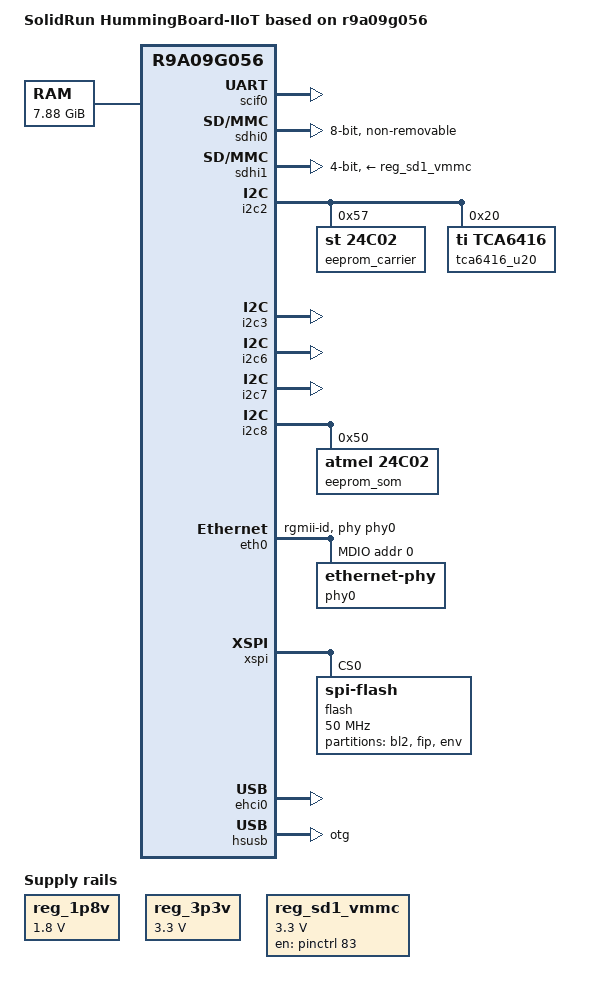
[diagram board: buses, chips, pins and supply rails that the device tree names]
// SPDX-License-Identifier: (GPL-2.0-only OR BSD-2-Clause)
/*
 * Device Tree Source for the RZ/V2N HummingBoard-IIOT board
 *
 * Copyright (C) 2024 Renesas Electronics Corp.
 */

/dts-v1/;
#include "r9a09g056.dtsi"
#include <dt-bindings/pinctrl/rzv2n-pinctrl.h>
#include <dt-bindings/gpio/gpio.h>

/ {
	model = "SolidRun HummingBoard-IIoT based on r9a09g056";
	compatible = "renesas,r9a09g056";

	aliases {
		serial0 = &scif0;
		mmc0 = &sdhi0;
		mmc1 = &sdhi1;
		i2c2 = &i2c2;
		i2c3 = &i2c3;
		i2c6 = &i2c6;
		i2c7 = &i2c7;
		i2c8 = &i2c8;
		spi0 = &xspi;
		eeprom_carrier = &eeprom_carrier;
		eeprom_som = &eeprom_som;
	};

	chosen {
		stdout-path = "serial0:115200n8";
	};

	firmware {
		/* for u-boot control dts only, to discover optee */
		optee {
			compatible = "linaro,optee-tz";
			method = "smc";
		};
	};

	memory@48000000 {
		device_type = "memory";
		/* first 128MB is reserved for secure area. */
		reg = <0x0 0x48000000 0x1 0xF8000000>;
	};

	reserved-memory {
		#address-cells = <2>;
		#size-cells = <2>;
		ranges;

		global_cma: linux,cma@58000000 {
			compatible = "shared-dma-pool";
			linux,cma-default;
			reusable;
			reg = <0x0 0x58000000 0x0 0x10000000>;
		};
	};

	reg_1p8v: regulator0 {
		compatible = "regulator-fixed";

		regulator-name = "fixed-1.8V";
		regulator-min-microvolt = <1800000>;
		regulator-max-microvolt = <1800000>;
		regulator-boot-on;
		regulator-always-on;
	};

	reg_3p3v: regulator1 {
		compatible = "regulator-fixed";

		regulator-name = "fixed-3.3V";
		regulator-min-microvolt = <3300000>;
		regulator-max-microvolt = <3300000>;
		regulator-boot-on;
		regulator-always-on;
	};

	/* SD1 card power controlled by PA3 (port 10, pin 3 = GPIO 83) */
	reg_sd1_vmmc: regulator-sd1-vmmc {
		compatible = "regulator-fixed";
		regulator-name = "sd1-vmmc";
		regulator-min-microvolt = <3300000>;
		regulator-max-microvolt = <3300000>;
		gpios = <&pinctrl 83 0>; /* PA3, active-high */
		enable-active-high;
	};

};

&extal_clk {
	clock-frequency = <24000000>;
};

&scif0 {
	status = "okay";
};

&sdhi0 {
	bus-width = <8>;
	non-removable;
	fixed-emmc-driver-type = <1>;
	status = "okay";
};

&sdhi1 {
	bus-width = <4>;
	vmmc-supply = <&reg_sd1_vmmc>;
	vqmmc-supply = <&reg_3p3v>;
	status = "okay";
};

&i2c2 {
	pinctrl-names = "default";
	status = "okay";

	eeprom_carrier: eeprom@57 {
		compatible = "st,24c02", "atmel,24c02";
		reg = <0x57>;
		pagesize = <8>;
	};

	tca6416_u20: gpio@20 {
		compatible = "ti,tca6416";
		reg = <0x20>;
		gpio-controller;
		#gpio-cells = <2>;

		/* Hold M.2 M-key PERST# asserted so the endpoint
		 * is in reset when Linux probes PCIe after reboot.
		 */
		m2-m-perst-hog {
			gpio-hog;
			gpios = <7 GPIO_ACTIVE_LOW>;
			output-high;
			line-name = "m2-m-perst";
		};

		/* Hold M.2 B-key reset asserted so the endpoint
		 * is in reset when Linux probes after reboot.
		 */
		m2-b-reset-hog {
			gpio-hog;
			gpios = <8 GPIO_ACTIVE_LOW>;
			output-high;
			line-name = "m2-b-reset";
		};
	};
};

&i2c3 {
	status = "okay";
};

&i2c6 {
	status = "okay";
};

&i2c7 {
	status = "okay";
};

&i2c8 {
	pinctrl-names = "default";
	status = "okay";

	eeprom_som: m24c02@50 {
		compatible = "atmel,24c02";
		reg = <0x50>;
	};
};

&eth0 {
	status = "okay";
	phy-handle = <&phy0>;
	phy-mode = "rgmii-id";

	mdio {
		#address-cells = <1>;
		#size-cells = <0>;

		phy0: ethernet-phy@0 {
			reg = <0>;
		};
	};
};

&xspi {
	status = "okay";

	flash@0 {
		compatible = "spi-flash", "jedec,spi-nor";
		reg = <0>;
		m25p,fast-read;
		spi-max-frequency = <50000000>;
		spi-tx-bus-width = <1>;
		spi-rx-bus-width = <1>;

		partitions {
			compatible = "fixed-partitions";
			#address-cells = <1>;
			#size-cells = <1>;

			partition@000000 {
				label = "bl2";
				reg = <0x00000000 0x0001D200>;
				read-only;
			};
			partition@01D200 {
				label = "fip";
				reg = <0x0001D200 0x001C2E00>;
				read-only;
			};
			partition@1E0000 {
				label = "env";
				reg = <0x001E0000 0x00020000>;
			};
		};
	};
};

&ehci0 {
	status = "okay";
};

&hsusb {
	dr_mode = "otg";
	status = "okay";
};
